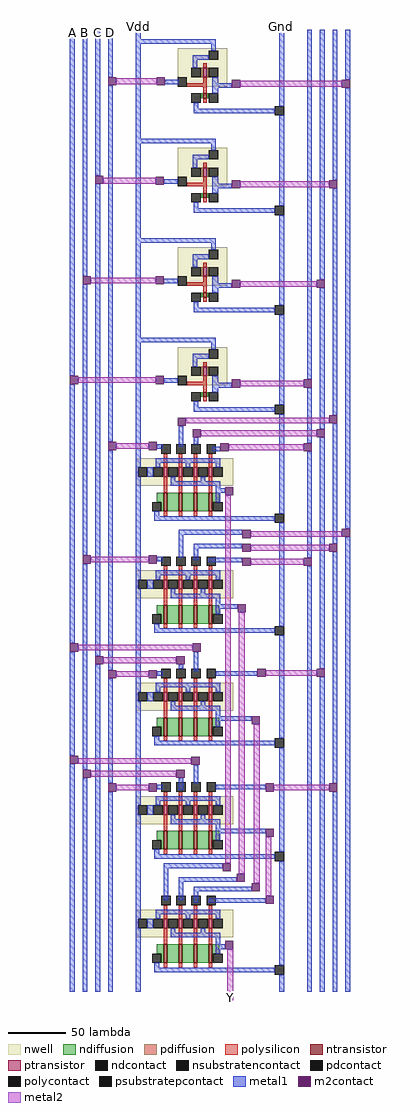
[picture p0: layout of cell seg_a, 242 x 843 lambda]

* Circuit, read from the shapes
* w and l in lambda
.subckt seg_a A B C D Gnd Vdd Y
M1 n1 n2 Gnd Gnd nfet w=16 l=3
M2 n3 D Gnd Gnd nfet w=16 l=3
M3 n4 D Gnd Gnd nfet w=16 l=3
M4 n5 B Gnd Gnd nfet w=16 l=3
M5 n6 D Gnd Gnd nfet w=16 l=3
M6 n7 n8 n1 Gnd nfet w=16 l=3
M7 n9 B n3 Gnd nfet w=16 l=3
M8 n10 C n4 Gnd nfet w=16 l=3
M9 n11 n12 n5 Gnd nfet w=16 l=3
M10 n13 n14 n6 Gnd nfet w=16 l=3
M11 n15 n16 n7 Gnd nfet w=16 l=3
M12 n17 A n9 Gnd nfet w=16 l=3
M13 n18 A n10 Gnd nfet w=16 l=3
M14 n19 n14 n11 Gnd nfet w=16 l=3
M15 n20 n21 n13 Gnd nfet w=16 l=3
M16 n22 A Gnd Gnd nfet w=4 l=3
M17 n21 B Gnd Gnd nfet w=4 l=3
M18 n14 C Gnd Gnd nfet w=4 l=3
M19 n12 D Gnd Gnd nfet w=4 l=3
M20 Y n23 n15 Gnd nfet w=16 l=3
M21 n23 n14 n17 Gnd nfet w=16 l=3
M22 n16 n21 n18 Gnd nfet w=16 l=3
M23 n8 n22 n19 Gnd nfet w=16 l=3
M24 n2 n22 n20 Gnd nfet w=16 l=3
M25 Y n2 Vdd Vdd pfet w=8 l=3
M26 n23 D Vdd Vdd pfet w=8 l=3
M27 n16 D Vdd Vdd pfet w=8 l=3
M28 n8 B Vdd Vdd pfet w=8 l=3
M29 n2 D Vdd Vdd pfet w=8 l=3
M30 Vdd n8 Y Vdd pfet w=8 l=3
M31 Vdd B n23 Vdd pfet w=8 l=3
M32 Vdd C n16 Vdd pfet w=8 l=3
M33 Vdd n12 n8 Vdd pfet w=8 l=3
M34 Vdd n14 n2 Vdd pfet w=8 l=3
M35 Y n16 Vdd Vdd pfet w=8 l=3
M36 n23 A Vdd Vdd pfet w=8 l=3
M37 n16 A Vdd Vdd pfet w=8 l=3
M38 n8 n14 Vdd Vdd pfet w=8 l=3
M39 n2 n21 Vdd Vdd pfet w=8 l=3
M40 n22 A Vdd Vdd pfet w=8 l=3
M41 n21 B Vdd Vdd pfet w=8 l=3
M42 n14 C Vdd Vdd pfet w=8 l=3
M43 n12 D Vdd Vdd pfet w=8 l=3
M44 Vdd n23 Y Vdd pfet w=8 l=3
M45 Vdd n14 n23 Vdd pfet w=8 l=3
M46 Vdd n21 n16 Vdd pfet w=8 l=3
M47 Vdd n22 n8 Vdd pfet w=8 l=3
M48 Vdd n22 n2 Vdd pfet w=8 l=3
.ends

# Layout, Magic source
magic
tech tsmc
<< metal1 >>
rect 0 531 4 536
rect 124 531 128 536
rect -57 232 -53 531
rect -46 318 -42 531
rect -35 405 -31 531
rect -24 490 -20 531
rect 25 484 37 488
rect -57 1 -53 225
rect -46 77 -42 311
rect -57 -96 -53 -6
rect -57 -300 -53 -103
rect -46 -108 -42 70
rect -35 -10 -31 398
rect -24 175 -20 483
rect 67 481 83 485
rect 24 398 36 402
rect 66 394 83 398
rect 24 312 36 316
rect 66 308 83 312
rect 24 226 36 230
rect 148 229 152 531
rect 159 315 163 531
rect 170 401 174 531
rect 181 488 185 531
rect 66 222 83 226
rect 18 169 23 173
rect 37 171 41 189
rect 50 173 54 179
rect 148 174 152 222
rect 159 186 163 308
rect 170 198 174 394
rect -46 -300 -42 -115
rect -35 -300 -31 -17
rect -24 -22 -20 168
rect 66 167 73 171
rect 73 131 77 135
rect 37 95 92 99
rect 18 72 23 76
rect 37 75 41 95
rect 50 83 92 87
rect 50 73 54 83
rect 148 75 152 167
rect 63 71 92 75
rect 73 31 88 35
rect 37 -21 41 -17
rect 50 -23 54 -6
rect 18 -27 23 -23
rect 69 -27 105 -23
rect -24 -120 -20 -29
rect 69 -66 100 -62
rect 18 -125 23 -121
rect 37 -126 41 -115
rect 50 -120 54 -104
rect 69 -125 112 -121
rect -24 -300 -20 -127
rect 69 -163 112 -159
rect 24 -193 75 -189
rect 24 -221 28 -193
rect 37 -205 87 -201
rect 37 -221 41 -205
rect 50 -213 100 -209
rect 50 -223 54 -213
rect 63 -223 112 -219
rect 69 -263 77 -259
rect 148 -300 152 68
rect 159 -21 163 179
rect 170 87 174 191
rect 181 100 185 481
rect 159 -300 163 -28
rect 170 -120 174 80
rect 170 -300 174 -127
rect 181 -300 185 93
<< m2contact >>
rect -24 483 -17 490
rect 18 483 25 490
rect -35 398 -28 405
rect -46 311 -39 318
rect -57 225 -50 232
rect -46 70 -39 77
rect -57 -6 -50 1
rect -57 -103 -50 -96
rect 83 481 90 488
rect 17 397 24 404
rect 83 394 90 401
rect 17 311 24 318
rect 83 308 90 315
rect 17 225 24 232
rect 178 481 185 488
rect 167 394 174 401
rect 156 308 163 315
rect 83 222 90 229
rect 145 222 152 229
rect 36 189 43 196
rect -24 168 -17 175
rect 11 168 18 175
rect 49 179 56 186
rect 167 191 174 198
rect 156 179 163 186
rect -35 -17 -28 -10
rect -46 -115 -39 -108
rect 73 167 80 174
rect 145 167 152 174
rect 77 129 84 136
rect 11 70 18 77
rect 92 92 99 99
rect 92 80 99 87
rect 92 68 99 75
rect 145 68 152 75
rect 88 28 95 35
rect 49 -6 56 1
rect 35 -17 42 -10
rect -24 -29 -17 -22
rect 11 -29 18 -22
rect 105 -28 112 -21
rect 100 -69 107 -62
rect 48 -104 55 -97
rect 35 -115 42 -108
rect -24 -127 -17 -120
rect 11 -127 18 -120
rect 112 -127 119 -120
rect 112 -166 119 -159
rect 75 -196 82 -189
rect 87 -205 94 -198
rect 100 -213 107 -206
rect 112 -224 119 -217
rect 77 -263 84 -256
rect 178 93 185 100
rect 167 80 174 87
rect 156 -28 163 -21
rect 167 -127 174 -120
<< metal2 >>
rect -17 484 18 489
rect 90 482 178 487
rect -28 398 17 403
rect 90 395 167 400
rect -39 312 17 317
rect 90 309 156 314
rect -50 226 17 231
rect 90 223 145 228
rect 43 191 167 196
rect 56 180 156 185
rect -17 169 11 174
rect 80 168 145 173
rect -39 71 11 76
rect -50 -5 49 0
rect -28 -16 35 -11
rect -17 -28 11 -23
rect -50 -103 48 -98
rect -39 -114 35 -109
rect -17 -126 11 -121
rect 77 -189 82 129
rect 99 93 178 98
rect 99 81 167 86
rect 99 69 145 74
rect 89 -198 94 28
rect 112 -27 156 -22
rect 102 -206 107 -69
rect 119 -126 167 -121
rect 112 -217 117 -166
rect 79 -307 84 -263
use 1INV  1INV_4
transform 1 0 49 0 1 465
box -49 -20 79 66
use 1INV  1INV_3
transform 1 0 49 0 1 379
box -49 -20 79 66
use 1INV  1INV_2
transform 1 0 49 0 1 293
box -49 -20 79 66
use 1INV  1INV_1
transform 1 0 49 0 1 207
box -49 -20 79 66
use 4NAND  4NAND_0
transform 1 0 18 0 1 145
box -18 -55 110 43
use 4NAND  4NAND_1
transform 1 0 18 0 1 48
box -18 -55 110 43
use 4NAND  4NAND_2
transform 1 0 18 0 1 -49
box -18 -55 110 43
use 4NAND  4NAND_3
transform 1 0 18 0 1 -147
box -18 -55 110 43
use 4NAND  4NAND_4
transform 1 0 18 0 1 -245
box -18 -55 110 43
<< labels >>
rlabel metal1 -57 526 -53 531 4 A
rlabel metal1 -46 526 -42 531 5 B
rlabel metal1 -35 526 -31 531 5 C
rlabel metal1 -24 526 -20 531 5 D
rlabel metal1 0 531 4 536 5 Vdd
rlabel metal1 124 531 128 536 5 Gnd
rlabel metal2 79 -307 84 -302 1 Y
<< end >>

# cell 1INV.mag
magic
tech tsmc
<< nwell >>
rect -13 17 30 50
<< ntransistor >>
rect 9 7 12 11
<< ptransistor >>
rect 9 25 12 33
<< ndiffusion >>
rect 7 7 9 11
rect 12 7 14 11
<< pdiffusion >>
rect 7 25 9 33
rect 12 25 14 33
<< ndcontact >>
rect -1 3 7 11
rect 14 3 22 11
<< pdcontact >>
rect -1 25 7 33
rect 14 25 22 33
<< psubstratepcontact >>
rect 71 -8 79 0
<< nsubstratencontact >>
rect 14 40 22 48
<< polysilicon >>
rect 9 33 12 37
rect 9 20 12 25
rect -5 17 12 20
rect 9 11 12 17
rect 9 3 12 7
<< polycontact >>
rect -13 17 -5 25
<< metal1 >>
rect -49 58 -45 66
rect -49 54 20 58
rect -49 -20 -45 54
rect 16 48 20 54
rect 0 40 14 44
rect 0 33 4 40
rect 17 11 22 25
rect 1 -2 5 3
rect 75 0 79 66
rect 1 -6 71 -2
rect 75 -20 79 -8
<< end >>

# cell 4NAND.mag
magic
tech tsmc
<< nwell >>
rect -18 -8 66 16
<< ntransistor >>
rect 6 -30 9 -14
rect 19 -30 22 -14
rect 32 -30 35 -14
rect 45 -30 48 -14
<< ptransistor >>
rect 6 0 9 8
rect 19 0 22 8
rect 32 0 35 8
rect 45 0 48 8
<< ndiffusion >>
rect 0 -22 6 -14
rect 4 -30 6 -22
rect 9 -30 19 -14
rect 22 -30 32 -14
rect 35 -30 45 -14
rect 48 -22 54 -14
rect 48 -30 49 -22
<< pdiffusion >>
rect 5 0 6 8
rect 9 0 10 8
rect 18 0 19 8
rect 22 0 23 8
rect 31 0 32 8
rect 35 0 36 8
rect 44 0 45 8
rect 48 0 49 8
<< ndcontact >>
rect -4 -30 4 -22
rect 49 -30 57 -22
<< pdcontact >>
rect -3 0 5 8
rect 10 0 18 8
rect 23 0 31 8
rect 36 0 44 8
rect 49 0 57 8
<< psubstratepcontact >>
rect 102 -40 110 -32
<< nsubstratencontact >>
rect -16 0 -8 8
<< polysilicon >>
rect 6 8 9 20
rect 19 8 22 20
rect 32 8 35 20
rect 45 8 48 20
rect 6 -14 9 0
rect 19 -14 22 0
rect 32 -14 35 0
rect 45 -14 48 0
rect 6 -34 9 -30
rect 19 -34 22 -30
rect 32 -34 35 -30
rect 45 -34 48 -30
<< polycontact >>
rect 4 20 12 28
rect 17 20 25 28
rect 30 20 38 28
rect 43 20 51 28
<< metal1 >>
rect -18 8 -14 43
rect -1 12 55 16
rect -1 8 3 12
rect 25 8 29 12
rect 51 8 55 12
rect -18 0 -16 8
rect -8 0 -3 8
rect -18 -55 -14 0
rect 12 -4 16 0
rect 38 -4 42 0
rect 12 -8 55 -4
rect 51 -22 55 -8
rect -2 -34 2 -30
rect 106 -32 110 43
rect -2 -38 102 -34
rect 106 -55 110 -40
<< end >>
